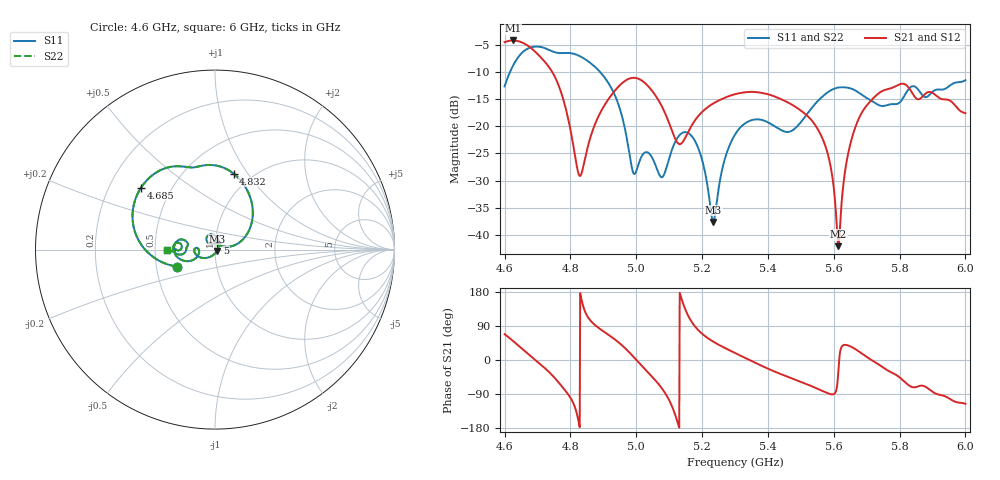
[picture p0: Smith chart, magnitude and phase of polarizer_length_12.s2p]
! TOUCHSTONE file generated by CST MICROWAVE STUDIO
! Date and time: Sun Dec  1 17:17:00 2024
! Project name: test_tuning.cst
! Parameters = {airCoaxOuterDiameter=3; chamferAngle=45; chamferWidth=24; connectorLength=10; drillingHoleDiameter=4.1; feedLength=60; flareDiameter=130; flareLength=70; gratingDistance=0; gratingGap=1.90274; outletLength=30; polarizerLength=86; probe1Diameter=1.3; probe1Distance=14; probe1Length=12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
! Header version: 2024
! Port assignment regex: !\s*Touchstone port\s*([0-9]+)\s*=\s*(CST MWS port|CST DES external port|CST DES block port)\s*(.+)\s* \(\"(.*)\"\)(\s*mode\s*([0-9]+))?.*
! Touchstone port assignment:
! Touchstone port 1 = CST MWS port 1 ("Input1")
! Touchstone port 2 = CST MWS port 2 ("Input2")
# GHz S MA R 50
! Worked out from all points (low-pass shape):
!   1001 points, 4.6 GHz to 6 GHz, reference 50 ohm
!   highest |S21| = -4.19 dB at 4.625 GHz (marker M1); lowest = -42.1 dB at 5.614 GHz (marker M2)
!   |S21| within 3 dB of the highest: start of sweep to 4.708 GHz
!   lowest |S11| = -37.6 dB at 5.234 GHz (marker M3), VSWR 1.03, Z = 51.1 - j0.731 ohm
!   |S11| at or under -10 dB: start of sweep to 4.616456 GHz; 4.89 GHz to end of sweep
!   |S22| runs from -37.6 to -5.3 dB; largest |S21 - S12| = 5.1e-07
!   S11 on the Smith chart (normalised r, x): 4.6 GHz: 0.64, -0.13; 4.685 GHz: 0.34, +0.33; 4.832 GHz: 0.82, +0.86; 5 GHz: 1.03, +0.07; 6 GHz: 0.58, +0.00
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4.6  0.2329 -156.1  0.5955 68.2  0.5955 68.2  0.2329 -156.1
4.6252  0.3597 -175.2  0.6171 50.5  0.6171 50.5  0.3597 -175.2
4.6854  0.5376 140.0  0.5097 5.3  0.5097 5.3  0.5376 140.0
4.7638  0.4733 104.7  0.2391 -58.9  0.2391 -58.9  0.4733 104.7
4.8324  0.4362 76.3  0.03593 164.4  0.03593 164.4  0.4362 76.3
4.8338  0.4339 75.6  0.03689 158.8  0.03689 158.8  0.4339 75.6
4.9304  0.2068 27.4  0.2045 57.2  0.2045 57.2  0.2068 27.4
5.0004  0.03893 69.3  0.2778 0.2  0.2778 0.2  0.03893 69.3
5.0312  0.05786 81.2  0.2425 -28.7  0.2425 -28.7  0.05786 81.2
5.0676  0.03718 89.5  0.1734 -63.4  0.1734 -63.4  0.03718 89.5
5.1264  0.07926 127.1  0.06988 -166.7  0.06988 -166.7  0.07926 127.1
5.1628  0.08466 98.9  0.09474 108.6  0.09474 108.6  0.08466 98.9
5.1992  0.05005 65.7  0.1347 69.9  0.1347 69.9  0.05005 65.7
5.2342  0.01316 -32.9  0.1624 48.2  0.1624 48.2  0.01316 -32.9
5.3  0.08376 -146.5  0.1975 18.5  0.1975 18.5  0.08376 -146.5
5.5338  0.1482 -155.1  0.1125 -69.6  0.1125 -69.6  0.1482 -155.1
5.5842  0.208 -166.5  0.05234 -88.4  0.05234 -88.4  0.208 -166.5
5.6136  0.2272 -177.1  0.007871 -34.7  0.007871 -34.7  0.2272 -177.1
5.6374  0.2278 174.7  0.04411 39.7  0.04411 39.7  0.2278 174.7
5.6654  0.2138 166.3  0.0976 28.8  0.0976 28.8  0.2138 166.3
5.7676  0.1584 175.5  0.2211 -29.3  0.2211 -29.3  0.1584 175.5
6  0.2658 179.9  0.1319 -115.6  0.1319 -115.6  0.2658 179.9
